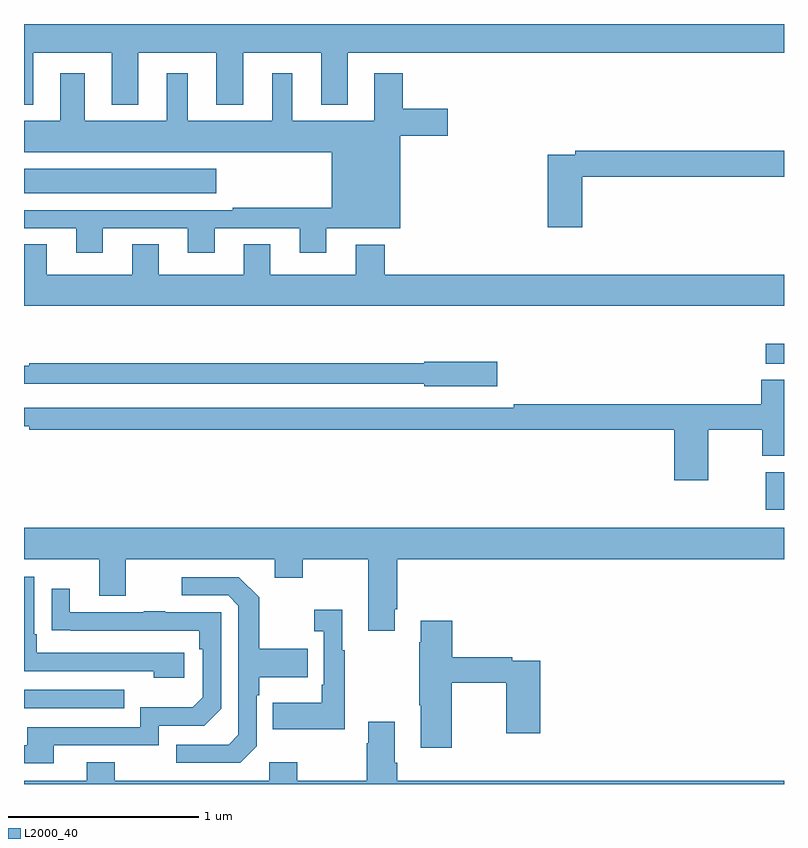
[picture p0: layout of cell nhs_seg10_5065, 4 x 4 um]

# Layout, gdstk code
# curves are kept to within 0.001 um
import gdstk
lib = gdstk.Library(unit=1e-6, precision=1e-09)
def R(c, l, rs):  # rectangles x0, y0, x1, y1
    for r in rs: c.add(gdstk.rectangle(r[:2], r[2:], *l))
def P(c, l, *ps):  # polygons
    for p in ps: c.add(gdstk.Polygon(p, *l))
L2000_40 = (2000, 40)

nhs_seg10_5065 = lib.new_cell('nhs_seg10_5065')
R(nhs_seg10_5065, L2000_40, [(405,1264.899,405.527,1264.995), (408.904,1265.943,409,1266.142), (408.903,1266.713,409,1266.817), (405,1267.61,406.012,1267.738)])
P(nhs_seg10_5065, L2000_40, [(405.049,1268.348),(405.461,1268.348),(405.461,1268.075),(405.601,1268.075),(405.601,1268.348),(406.013,1268.348),(406.013,1268.075),(406.153,1268.075),(406.153,1268.348),(406.565,1268.348),(406.565,1268.075),(406.705,1268.075),(406.705,1268.348),(409,1268.348),(409,1268.5),(405,1268.5),(405,1268.075),(405.049,1268.075)],
  [(405.415,1267.425),(405.863,1267.425),(405.863,1267.296),(406.003,1267.296),(406.003,1267.425),(406.451,1267.425),(406.451,1267.296),(406.591,1267.296),(406.591,1267.424),(406.981,1267.424),(406.981,1267.913),(407.23,1267.913),(407.23,1268.055),(406.994,1268.055),(406.994,1268.242),(406.844,1268.242),(406.844,1267.99),(406.411,1267.99),(406.411,1268.242),(406.307,1268.242),(406.307,1267.99),(405.862,1267.99),(405.862,1268.242),(405.752,1268.242),(405.752,1267.99),(405.319,1267.99),(405.319,1268.242),(405.191,1268.242),(405.191,1267.99),(405,1267.99),(405,1267.826),(406.619,1267.826),(406.619,1267.534),(406.099,1267.534),(406.099,1267.521),(405,1267.521),(405,1267.425),(405.275,1267.425),(405.275,1267.296),(405.415,1267.296)],
  [(407.939,1267.696),(409,1267.696),(409,1267.832),(407.902,1267.832),(407.902,1267.812),(407.756,1267.812),(407.756,1267.431),(407.939,1267.431)],
  [(409,1267.18),(406.898,1267.18),(406.898,1267.339),(406.745,1267.339),(406.745,1267.18),(406.297,1267.18),(406.297,1267.34),(406.157,1267.34),(406.157,1267.18),(405.709,1267.18),(405.709,1267.34),(405.569,1267.34),(405.569,1267.18),(405.121,1267.18),(405.121,1267.34),(405,1267.34),(405,1267.016),(409,1267.016)],
  [(407.491,1266.723),(407.106,1266.723),(407.106,1266.715),(405.028,1266.715),(405.028,1266.702),(405,1266.702),(405,1266.606),(407.106,1266.606),(407.106,1266.593),(407.491,1266.593)],
  [(408.6,1266.364),(408.886,1266.364),(408.886,1266.227),(409,1266.227),(409,1266.628),(408.881,1266.628),(408.881,1266.5),(407.578,1266.5),(407.578,1266.48),(405,1266.48),(405,1266.383),(405.028,1266.383),(405.028,1266.364),(408.422,1266.364),(408.422,1266.099),(408.6,1266.099)],
  [(406.951,1265.419),(406.964,1265.419),(406.964,1265.684),(409,1265.684),(409,1265.848),(405,1265.848),(405,1265.684),(405.395,1265.684),(405.395,1265.49),(405.535,1265.49),(405.535,1265.684),(406.319,1265.684),(406.319,1265.585),(406.467,1265.585),(406.467,1265.684),(406.811,1265.684),(406.811,1265.307),(406.951,1265.307)],
  [(405.844,1265.19),(405.067,1265.19),(405.067,1265.287),(405.054,1265.287),(405.054,1265.592),(405,1265.592),(405,1265.094),(405.683,1265.094),(405.683,1265.06),(405.844,1265.06)],
  [(406.224,1264.698),(406.224,1264.967),(406.237,1264.967),(406.237,1265.063),(406.493,1265.063),(406.493,1265.211),(406.237,1265.211),(406.237,1265.483),(406.131,1265.589),(405.831,1265.589),(405.831,1265.493),(406.074,1265.493),(406.128,1265.439),(406.128,1264.758),(406.077,1264.707),(405.801,1264.707),(405.801,1264.611),(406.137,1264.611)],
  [(405.157,1264.704),(405.708,1264.704),(405.708,1264.806),(405.948,1264.806),(406.038,1264.896),(406.038,1265.403),(405.743,1265.403),(405.743,1265.408),(405.631,1265.408),(405.631,1265.403),(405.241,1265.403),(405.241,1265.527),(405.145,1265.527),(405.145,1265.308),(405.922,1265.307),(405.922,1265.21),(405.942,1265.21),(405.942,1264.956),(405.889,1264.903),(405.612,1264.903),(405.612,1264.8),(405.017,1264.8),(405.017,1264.704),(405,1264.704),(405,1264.608),(405.157,1264.608)],
  [(406.687,1265.203),(406.675,1265.203),(406.675,1265.416),(406.527,1265.416),(406.527,1265.303),(406.578,1265.303),(406.578,1265.023),(406.566,1265.023),(406.566,1264.927),(406.309,1264.927),(406.309,1264.787),(406.687,1264.787)],
  [(407.25,1265.032),(407.539,1265.032),(407.539,1264.767),(407.717,1264.767),(407.717,1265.148),(407.57,1265.148),(407.57,1265.168),(407.255,1265.168),(407.255,1265.359),(407.087,1265.359),(407.087,1265.246),(407.08,1265.246),(407.08,1264.915),(407.087,1264.915),(407.087,1264.692),(407.25,1264.692)],
  [(409,1264.516),(406.964,1264.516),(406.964,1264.612),(406.951,1264.612),(406.951,1264.828),(406.811,1264.828),(406.811,1264.715),(406.804,1264.715),(406.804,1264.516),(406.437,1264.516),(406.437,1264.615),(406.29,1264.615),(406.29,1264.516),(405.477,1264.516),(405.477,1264.615),(405.329,1264.615),(405.329,1264.516),(405,1264.516),(405,1264.5),(409,1264.5)])

lib.write_gds('nhs_seg10_5065.gds')
